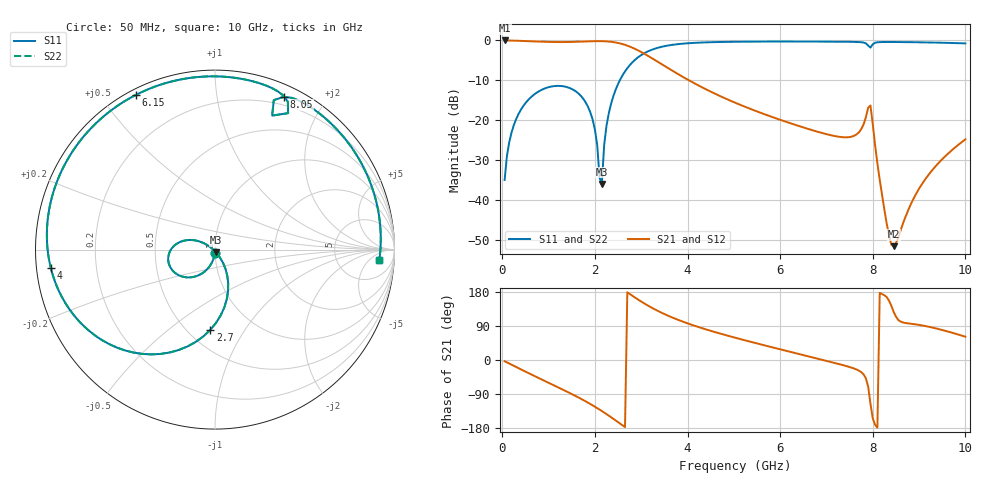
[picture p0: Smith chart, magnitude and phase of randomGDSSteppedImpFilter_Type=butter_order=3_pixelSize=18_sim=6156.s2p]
! freq	dB(S11)	phase(S11)	dB(S12)	phase(S12)
!  dB(S21)	phase(S21)	dB(S22)	phase(S22)
!S-par simulation data
#  GHz  S  DB  R 50
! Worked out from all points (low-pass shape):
!   200 points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, 50 MHz to 10 GHz, reference 50 ohm
!   highest |S21| = -0.01 dB at 50 MHz (marker M1); lowest = -51.6 dB at 8.45 GHz (marker M2)
!   |S21| within 3 dB of the highest: start of sweep to 3.015 GHz
!   lowest |S11| = -36.0 dB at 2.15 GHz (marker M3), VSWR 1.03, Z = 50.5 - j1.51 ohm
!   |S11| at or under -10 dB: start of sweep to 2.539 GHz
!   |S22| runs from -36.0 to -0.3 dB; largest |S21 - S12| = 0
!   S11 on the Smith chart (normalised r, x): 50 MHz: 1.00, -0.04; 2.7 GHz: 0.64, -0.71; 4 GHz: 0.04, -0.05; 6.15 GHz: 0.02, +0.61; 8.05 GHz: 0.12, +1.54; 10 GHz: 15, -11
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0.05  -35.02 -93.0  -0.01 -3.1  -0.01 -3.1  -35.02 -93.0
0.25  -21.23 -105.8  -0.05 -15.5  -0.05 -15.5  -21.23 -105.8
0.6  -14.46 -127.1  -0.21 -36.6  -0.21 -36.6  -14.46 -127.1
1.2  -11.41 -162.1  -0.41 -71.8  -0.41 -71.8  -11.41 -162.1
1.75  -14.67 164.8  -0.28 -105.7  -0.28 -105.7  -14.67 164.8
2  -22.37 150.3  -0.19 -123.2  -0.19 -123.2  -22.37 150.2
2.15  -36.01 -71.3  -0.19 -134.7  -0.19 -134.7  -36.01 -71.2
2.2  -26.21 -58.0  -0.21 -138.7  -0.21 -138.7  -26.21 -57.9
2.3  -18.26 -61.4  -0.28 -146.9  -0.28 -146.9  -18.26 -61.4
2.7  -6.97 -93.4  -1.31 178.7  -1.31 178.7  -6.97 -93.4
3.4  -1.72 -144.2  -5.66 127.0  -5.66 127.0  -1.72 -144.2
4  -0.72 -173.8  -9.82 96.7  -9.82 96.7  -0.72 -173.8
5.05  -0.33 149.3  -15.74 58.1  -15.74 58.1  -0.33 149.3
6.15  -0.28 117.1  -20.51 23.6  -20.51 23.6  -0.28 117.1
6.7  -0.29 101.3  -22.55 6.8  -22.55 6.8  -0.29 101.3
7.6  -0.37 74.0  -23.92 -22.6  -23.92 -22.6  -0.37 74.0
7.95  -1.81 66.9  -16.33 -115.4  -16.33 -115.4  -1.82 66.9
8.05  -0.59 65.7  -26.29 -170.9  -26.29 -170.9  -0.59 65.7
8.35  -0.39 53.6  -48.82 156.6  -48.82 156.6  -0.39 53.6
8.45  -0.40 50.1  -51.64 127.4  -51.64 127.4  -0.40 50.2
9.1  -0.49 28.2  -35.40 90.5  -35.40 90.5  -0.49 28.2
10  -0.75 -3.6  -24.82 61.4  -24.82 61.4  -0.75 -3.6
